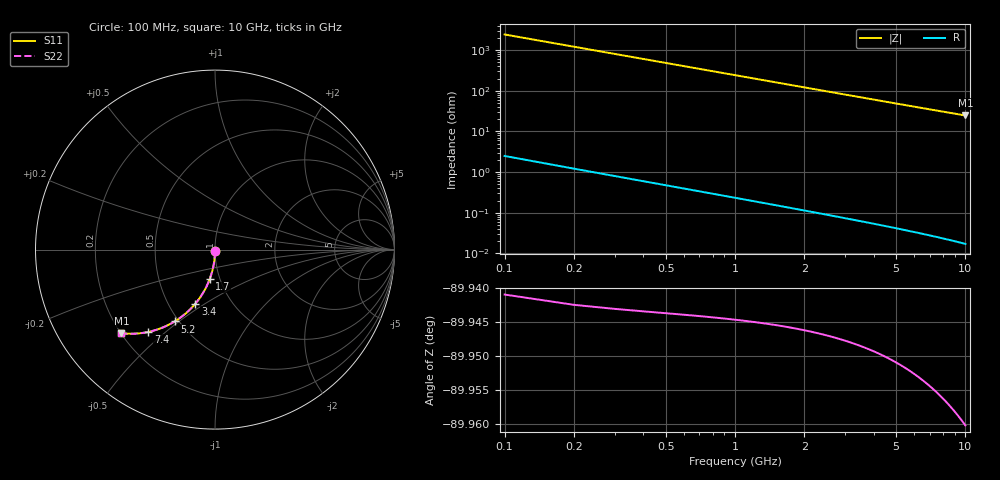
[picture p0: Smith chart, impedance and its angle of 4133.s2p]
# Hz S RI R 50.00
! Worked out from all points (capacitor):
!   100 points, 100 MHz to 10 GHz, reference 50 ohm
!   read as one part in shunt: C = 657 fF near 100 MHz
!   lowest |Z| = 24.7 ohm at 10 GHz (marker M1)
!   S11 on the Smith chart (normalised r, x): 100 MHz: 1.00, -0.02; 1.7 GHz: 0.89, -0.30; 3.4 GHz: 0.68, -0.46; 5.2 GHz: 0.48, -0.48; 7.4 GHz: 0.31, -0.44; 10 GHz: 0.20, -0.37
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1e8  0.000208 -0.01  0.9996 -0.0107  0.9996 -0.0107  0.000208 -0.01
2e8  -0.000119 -0.02  0.9992 -0.0213  0.9992 -0.0213  -0.000119 -0.02
3e8  -0.00066 -0.03  0.9987 -0.0319  0.9987 -0.0319  -0.00066 -0.03
4e8  -0.00141 -0.0399  0.9979 -0.0425  0.9979 -0.0425  -0.00141 -0.0399
5e8  -0.00238 -0.0499  0.997 -0.0531  0.997 -0.0531  -0.00238 -0.0499
6e8  -0.00355 -0.0598  0.9958 -0.0637  0.9958 -0.0637  -0.00355 -0.0598
8e8  -0.00652 -0.0795  0.9928 -0.0847  0.9928 -0.0847  -0.00652 -0.0795
1.1e9  -0.0125 -0.1086  0.9868 -0.1157  0.9868 -0.1157  -0.0125 -0.1086
1.4e9  -0.0203 -0.1371  0.979 -0.1462  0.979 -0.1462  -0.0203 -0.1371
1.7e9  -0.0297 -0.1648  0.9695 -0.1759  0.9695 -0.1759  -0.0297 -0.1648
1.8e9  -0.0332 -0.1738  0.966 -0.1856  0.966 -0.1856  -0.0332 -0.1738
2.1e9  -0.0448 -0.2003  0.9544 -0.214  0.9544 -0.214  -0.0448 -0.2003
2.5e9  -0.0624 -0.234  0.9368 -0.2503  0.9368 -0.2503  -0.0624 -0.234
2.9e9  -0.0823 -0.2655  0.9168 -0.2845  0.9168 -0.2845  -0.0823 -0.2655
3.4e9  -0.1099 -0.3017  0.8892 -0.3239  0.8892 -0.3239  -0.1099 -0.3017
4.2e9  -0.1588 -0.3517  0.8401 -0.3792  0.8401 -0.3792  -0.1588 -0.3517
5.1e9  -0.2181 -0.3962  0.7806 -0.4295  0.7806 -0.4295  -0.2181 -0.3962
5.2e9  -0.2248 -0.4003  0.7739 -0.4344  0.7739 -0.4344  -0.2248 -0.4003
6.7e9  -0.3259 -0.4465  0.6724 -0.4905  0.6724 -0.4905  -0.3259 -0.4465
7.4e9  -0.3715 -0.4586  0.6266 -0.5072  0.6266 -0.5072  -0.3715 -0.4586
8.4e9  -0.4331 -0.4675  0.5646 -0.5228  0.5646 -0.5228  -0.4331 -0.4675
1e10  -0.5214 -0.4659  0.4756 -0.532  0.4756 -0.532  -0.5214 -0.4659
